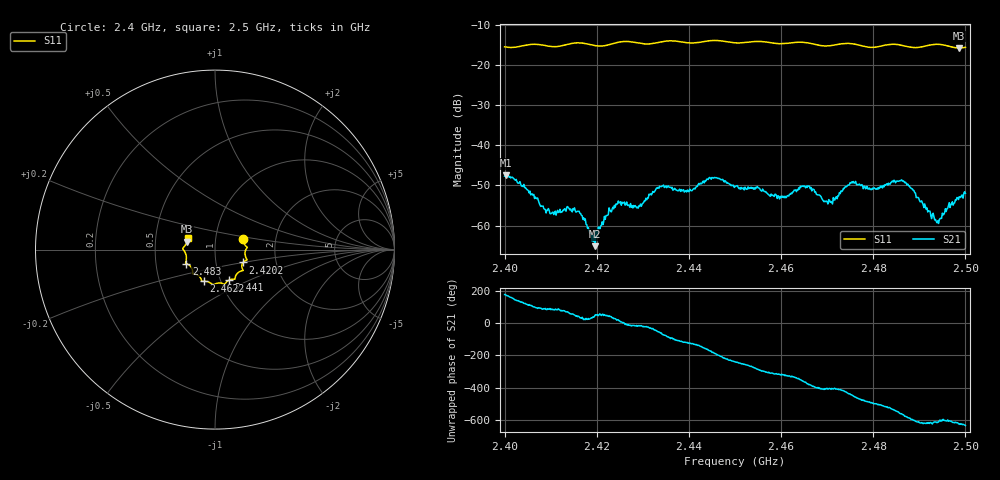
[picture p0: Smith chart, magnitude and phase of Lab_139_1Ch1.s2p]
# Hz S RI R 50
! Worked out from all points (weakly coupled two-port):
!   601 points, 2.4 GHz to 2.5 GHz, reference 50 ohm
!   highest |S21| = -47.51 dB at 2.4003 GHz (marker M1); lowest = -65.1 dB at 2.4197 GHz (marker M2)
!   lowest |S11| = -15.8 dB at 2.4987 GHz (marker M3), VSWR 1.39, Z = 36.4 + j3.34 ohm
!   |S11| at or under -10 dB: start of sweep to end of sweep
!   S12 and S22 are empty: the file has one direction only
!   S11 on the Smith chart (normalised r, x): 2.4 GHz: 1.36, +0.17; 2.4202 GHz: 1.35, -0.20; 2.441 GHz: 1.09, -0.39; 2.4622 GHz: 0.83, -0.30; 2.483 GHz: 0.72, -0.12; 2.5 GHz: 0.73, +0.09
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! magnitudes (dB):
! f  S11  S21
! 2.4 GHz  -15.5  -47.7
! 2.4003 GHz  -15.6  -47.5
! 2.4095 GHz  -15.4  -55.8
! 2.4167 GHz  -14.6  -57.4
! 2.4197 GHz  -15.2  -65.1
! 2.4202 GHz  -15.3  -63.0
! 2.4247 GHz  -14.4  -53.9
! 2.4292 GHz  -14.6  -55.0
! 2.4333 GHz  -14.4  -50.5
! 2.441 GHz  -14.6  -50.8
! 2.4455 GHz  -13.9  -48.0
! 2.45 GHz  -14.5  -50.3
! 2.4622 GHz  -14.5  -51.9
! 2.4667 GHz  -14.7  -51.4
! 2.4707 GHz  -15.2  -54.2
! 2.4755 GHz  -14.8  -49.4
! 2.483 GHz  -15.0  -49.5
! 2.4833 GHz  -15.0  -49.4
! 2.487 GHz  -15.3  -49.2
! 2.4938 GHz  -14.9  -59.3
! 2.4987 GHz  -15.8  -52.8
! 2.5 GHz  -15.6  -52.0
